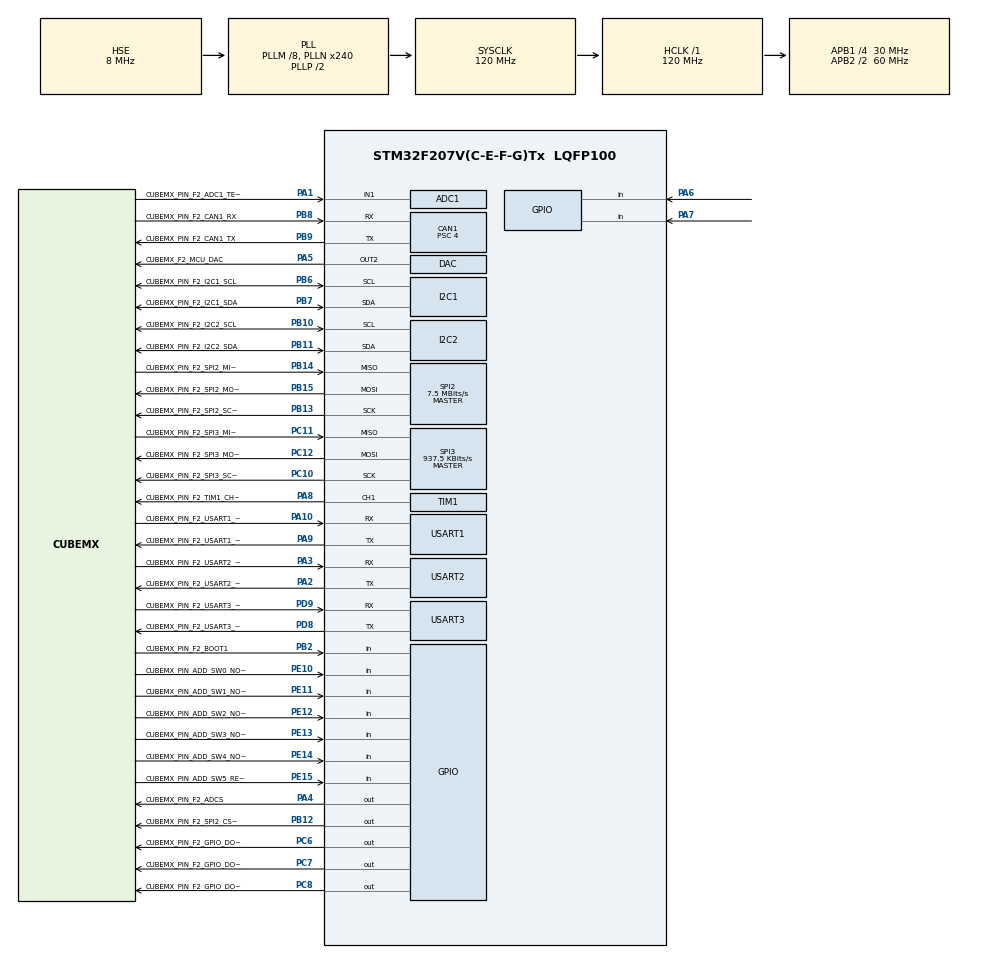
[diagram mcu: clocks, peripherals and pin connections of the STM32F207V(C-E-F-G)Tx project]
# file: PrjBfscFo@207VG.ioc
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ADC1.Channel-20\#ChannelRegularConversion=ADC_CHANNEL_1
ADC1.Channel-21\#ChannelRegularConversion=ADC_CHANNEL_1
ADC1.Channel-IN1=ADC_CHANNEL_1
ADC1.EOCSelection=ADC_EOC_SEQ_CONV
ADC1.NbrOfConversion=2
ADC1.Rank-21\#ChannelRegularConversion=2
ADC1.master=1
CAN1.ABOM=ENABLE
CAN1.BS1=CAN_BS1_12TQ
CAN1.BS2=CAN_BS2_2TQ
CAN1.CalculateTimeBit=2000
CAN1.CalculateTimeQuantum=133.33333333333334
CAN1.Prescaler=4
Dma.Request0=SPI2_RX
Dma.Request1=SPI2_TX
Dma.SPI2_RX.0.Direction=DMA_PERIPH_TO_MEMORY
Dma.SPI2_RX.0.FIFOMode=DMA_FIFOMODE_DISABLE
Dma.SPI2_RX.0.Instance=DMA1_Stream3
Dma.SPI2_RX.0.MemDataAlignment=DMA_MDATAALIGN_BYTE
Dma.SPI2_RX.0.MemInc=DMA_MINC_ENABLE
Dma.SPI2_RX.0.Mode=DMA_NORMAL
Dma.SPI2_RX.0.PeriphDataAlignment=DMA_PDATAALIGN_BYTE
Dma.SPI2_RX.0.PeriphInc=DMA_PINC_DISABLE
Dma.SPI2_RX.0.Priority=DMA_PRIORITY_MEDIUM
Dma.SPI2_TX.1.Direction=DMA_MEMORY_TO_PERIPH
Dma.SPI2_TX.1.FIFOMode=DMA_FIFOMODE_DISABLE
Dma.SPI2_TX.1.Instance=DMA1_Stream4
Dma.SPI2_TX.1.MemDataAlignment=DMA_MDATAALIGN_BYTE
Dma.SPI2_TX.1.MemInc=DMA_MINC_ENABLE
Dma.SPI2_TX.1.Mode=DMA_NORMAL
Dma.SPI2_TX.1.PeriphDataAlignment=DMA_PDATAALIGN_BYTE
Dma.SPI2_TX.1.PeriphInc=DMA_PINC_DISABLE
Dma.SPI2_TX.1.Priority=DMA_PRIORITY_MEDIUM
FREERTOS.INCLUDE_eTaskGetState=1
FREERTOS.INCLUDE_pcTaskGetTaskName=1
FREERTOS.INCLUDE_vTaskCleanUpResources=1
FREERTOS.Queues01=myQueue01,16,uint16_t,NULL,Dynamic,NULL,NULL
FREERTOS.Tasks01=defaultTask,0,512,StartDefaultTask,Default,NULL,Dynamic,NULL,NULL;myTask02,0,512,blk230_task,Default,NULL,Dynamic,NULL,NULL
FREERTOS.Timers01=myTimer01,Callback01,osTimerPeriodic,Default
FREERTOS.configCHECK_FOR_STACK_OVERFLOW=2
FREERTOS.configGENERATE_RUN_TIME_STATS=1
FREERTOS.configMAX_PRIORITIES=31
FREERTOS.configMAX_TASK_NAME_LEN=24
FREERTOS.configQUEUE_REGISTRY_SIZE=2
FREERTOS.configTOTAL_HEAP_SIZE=0x8C00
FREERTOS.configUSE_COUNTING_SEMAPHORES=1
FREERTOS.configUSE_IDLE_HOOK=1
FREERTOS.configUSE_MALLOC_FAILED_HOOK=1
FREERTOS.configUSE_PORT_OPTIMISED_TASK_SELECTION=1
FREERTOS.configUSE_RECURSIVE_MUTEXES=1
FREERTOS.configUSE_TICKLESS_IDLE=1
FREERTOS.configUSE_TICK_HOOK=1
FREERTOS.configUSE_TIMERS=1
Mcu.Family=STM32F2
Mcu.Name=STM32F207V(C-E-F-G)Tx
Mcu.Package=LQFP100
NVIC.CAN1_RX0_IRQn=true\:5\:0\:false\:false\:true\:true
NVIC.CAN1_RX1_IRQn=true\:5\:0\:false\:false\:true\:true
NVIC.DMA1_Stream3_IRQn=true\:5\:0\:false\:false\:true\:true
NVIC.DMA1_Stream4_IRQn=true\:5\:0\:false\:false\:true\:true
NVIC.PriorityGroup=NVIC_PRIORITYGROUP_4
NVIC.SPI2_IRQn=true\:5\:0\:false\:true\:true\:3\:true
NVIC.TIM2_IRQn=true\:0\:0\:false\:false\:true\:false
NVIC.TimeBase=TIM2_IRQn
NVIC.TimeBaseIP=TIM2
NVIC.USART1_IRQn=true\:5\:0\:true\:false\:true\:true
NVIC.USART2_IRQn=true\:5\:0\:false\:true\:true\:4\:true
NVIC.USART3_IRQn=true\:5\:0\:false\:true\:true\:5\:true
PA0-WKUP.GPIO_Label=CUBEMX_PIN_F2_STS_WKUP
PA0-WKUP.Mode=SYS_WakeUp0
PA0-WKUP.Signal=SYS_WKUP
PA1.GPIO_Label=CUBEMX_PIN_F2_ADC1_TEST1
PA1.Signal=ADCx_IN1
PA10.GPIO_Label=CUBEMX_PIN_F2_USART1_RX_DEBUG
PA10.Mode=Asynchronous
PA10.Signal=USART1_RX
PA13.GPIO_Label=CUBEMX_PIN_F2_SYS_JTMS_SWDIO
PA13.Mode=JTAG_5_pins
PA13.Signal=SYS_JTMS-SWDIO
PA14.GPIO_Label=CUBEMX_PIN_F2_SYS_JTCK_SWCLK
PA14.Mode=JTAG_5_pins
PA14.Signal=SYS_JTCK-SWCLK
PA15.GPIO_Label=CUBEMX_PIN_F2_SYS_JTDI
PA15.Mode=JTAG_5_pins
PA15.Signal=SYS_JTDI
PA2.GPIO_Label=CUBEMX_PIN_F2_USART2_TX_485
PA2.Mode=Asynchronous
PA2.Signal=USART2_TX
PA3.GPIO_Label=CUBEMX_PIN_F2_USART2_RX_485
PA3.Mode=Asynchronous
PA3.Signal=USART2_RX
PA4.GPIO_Label=CUBEMX_PIN_F2_ADCS
PA4.GPIO_PuPd=GPIO_PULLUP
PA4.GPIO_Speed=GPIO_SPEED_FREQ_HIGH
PA4.Signal=GPIO_Output
PA5.GPIO_Label=CUBEMX_F2_MCU_DAC
PA5.Signal=COMP_DAC2_group
PA6.Signal=GPIO_Input
PA7.Signal=GPIO_Input
PA8.GPIO_Label=CUBEMX_PIN_F2_TIM1_CH1_PMW_ADCLK
PA8.GPIO_PuPd=GPIO_PULLUP
PA8.GPIO_Speed=GPIO_SPEED_FREQ_VERY_HIGH
PA8.Signal=S_TIM1_CH1
PA9.GPIO_Label=CUBEMX_PIN_F2_USART1_TX_DEBUG
PA9.Mode=Asynchronous
PA9.Signal=USART1_TX
PB10.GPIO_Label=CUBEMX_PIN_F2_I2C2_SCL
PB10.Mode=I2C
PB10.Signal=I2C2_SCL
PB11.GPIO_Label=CUBEMX_PIN_F2_I2C2_SDA
PB11.Mode=I2C
PB11.Signal=I2C2_SDA
PB12.GPIO_Label=CUBEMX_PIN_F2_SPI2_CS_ADC
PB12.GPIO_Speed=GPIO_SPEED_FREQ_MEDIUM
PB12.PinState=GPIO_PIN_SET
PB12.Signal=GPIO_Output
PB13.GPIO_Label=CUBEMX_PIN_F2_SPI2_SCK_ADC
PB13.Mode=Full_Duplex_Master
PB13.Signal=SPI2_SCK
PB14.GPIO_Label=CUBEMX_PIN_F2_SPI2_MISO_ADC
PB14.Mode=Full_Duplex_Master
PB14.Signal=SPI2_MISO
PB15.GPIO_Label=CUBEMX_PIN_F2_SPI2_MOSI_ADC
PB15.Mode=Full_Duplex_Master
PB15.Signal=SPI2_MOSI
PB2.GPIO_Label=CUBEMX_PIN_F2_BOOT1
PB2.Signal=GPIO_Input
PB3.GPIO_Label=CUBEMX_PIN_F2_SYS_JTDO_SWO
PB3.Mode=JTAG_5_pins
PB3.Signal=SYS_JTDO-SWO
PB4.GPIO_Label=CUBEMX_PIN_F2_SYS_JTRST
PB4.Mode=JTAG_5_pins
PB4.Signal=SYS_JTRST
PB6.GPIO_Label=CUBEMX_PIN_F2_I2C1_SCL
PB6.Mode=I2C
PB6.Signal=I2C1_SCL
PB7.GPIO_Label=CUBEMX_PIN_F2_I2C1_SDA
PB7.Mode=I2C
PB7.Signal=I2C1_SDA
PB8.GPIO_Label=CUBEMX_PIN_F2_CAN1_RX
PB8.Mode=Master
PB8.Signal=CAN1_RX
PB9.GPIO_Label=CUBEMX_PIN_F2_CAN1_TX
PB9.Mode=Master
PB9.Signal=CAN1_TX
PC10.GPIO_Label=CUBEMX_PIN_F2_SPI3_SCK_ADC
PC10.GPIO_Mode=GPIO_MODE_AF_PP
PC10.GPIO_PuPd=GPIO_PULLUP
PC10.GPIO_Speed=GPIO_SPEED_FREQ_HIGH
PC10.Mode=Full_Duplex_Master
PC10.Signal=SPI3_SCK
PC11.GPIO_Label=CUBEMX_PIN_F2_SPI3_MISO_ADC
PC11.GPIO_PuPd=GPIO_PULLUP
PC11.GPIO_Speed=GPIO_SPEED_FREQ_HIGH
PC11.Mode=Full_Duplex_Master
PC11.Signal=SPI3_MISO
PC12.GPIO_Label=CUBEMX_PIN_F2_SPI3_MOSI_ADC
PC12.GPIO_PuPd=GPIO_PULLUP
PC12.GPIO_Speed=GPIO_SPEED_FREQ_HIGH
PC12.Mode=Full_Duplex_Master
PC12.Signal=SPI3_MOSI
PC14-OSC32_IN.GPIO_Label=CUBEMX_PIN_F2_RCC_OSC32_IN
PC14-OSC32_IN.Mode=LSE-External-Oscillator
PC14-OSC32_IN.Signal=RCC_OSC32_IN
PC15-OSC32_OUT.GPIO_Label=CUBEMX_PIN_F2_RCC_OSC32_OUT
PC15-OSC32_OUT.Mode=LSE-External-Oscillator
PC15-OSC32_OUT.Signal=RCC_OSC32_OUT
PC6.GPIO_Label=CUBEMX_PIN_F2_GPIO_DO_LED_SERV1
PC6.Signal=GPIO_Output
PC7.GPIO_Label=CUBEMX_PIN_F2_GPIO_DO_LED_WORK_STATE
PC7.Signal=GPIO_Output
PC8.GPIO_Label=CUBEMX_PIN_F2_GPIO_DO_LED_COMMU
PC8.Signal=GPIO_Output
PD8.GPIO_Label=CUBEMX_PIN_F2_USART3_TX_PRINT
PD8.Mode=Asynchronous
PD8.Signal=USART3_TX
PD9.GPIO_Label=CUBEMX_PIN_F2_USART3_RX_PRINT
PD9.Mode=Asynchronous
PD9.Signal=USART3_RX
PE10.GPIO_Label=CUBEMX_PIN_ADD_SW0_NODEID_BIT0
PE10.Signal=GPIO_Input
PE11.GPIO_Label=CUBEMX_PIN_ADD_SW1_NODEID_BIT1
PE11.Signal=GPIO_Input
PE12.GPIO_Label=CUBEMX_PIN_ADD_SW2_NODEID_BIT2
PE12.Signal=GPIO_Input
PE13.GPIO_Label=CUBEMX_PIN_ADD_SW3_NODEID_BIT3
PE13.Signal=GPIO_Input
PE14.GPIO_Label=CUBEMX_PIN_ADD_SW4_NODEID_BIT4
PE14.Signal=GPIO_Input
PE15.GPIO_Label=CUBEMX_PIN_ADD_SW5_RESERVED
PE15.Signal=GPIO_Input
PH0-OSC_IN.GPIO_Label=CUBEMX_PIN_F2_RCC_OSC_IN
PH0-OSC_IN.Mode=HSE-External-Oscillator
PH0-OSC_IN.Signal=RCC_OSC_IN
PH1-OSC_OUT.GPIO_Label=CUBEMX_PIN_F2_RCC_OSC_OUT
PH1-OSC_OUT.Mode=HSE-External-Oscillator
PH1-OSC_OUT.Signal=RCC_OSC_OUT
ProjectManager.HeapSize=0x200
ProjectManager.StackSize=0x400
ProjectManager.TargetToolchain=MDK-ARM V5
RCC.48MHZClocksFreq_Value=60000000
RCC.AHBFreq_Value=120000000
RCC.APB1CLKDivider=RCC_HCLK_DIV4
RCC.APB1Freq_Value=30000000
RCC.APB1TimFreq_Value=60000000
RCC.APB2CLKDivider=RCC_HCLK_DIV2
RCC.APB2Freq_Value=60000000
RCC.APB2TimFreq_Value=120000000
RCC.CortexFreq_Value=120000000
RCC.FLatency=FLASH_LATENCY_3
RCC.HCLKFreq_Value=120000000
RCC.HSE_VALUE=8000000
RCC.HSI_VALUE=16000000
RCC.PLLM=8
RCC.PLLN=240
RCC.PLLSourceVirtual=RCC_PLLSOURCE_HSE
RCC.SYSCLKFreq_VALUE=120000000
RCC.SYSCLKSource=RCC_SYSCLKSOURCE_PLLCLK
RCC.VCOOutputFreq_Value=240000000
RTC.Alarm_A-Alarm\ A=RTC_ALARM_A
RTC.Alarm_B-Alarm\ B=RTC_ALARM_B
RTC.Date=3
RTC.Year=17
SH.ADCx_IN1.0=ADC1_IN1,IN1
SH.COMP_DAC2_group.0=DAC_OUT2,DAC_OUT2
SH.S_TIM1_CH1.0=TIM1_CH1,PWM Generation1 CH1
SPI2.BaudRatePrescaler=SPI_BAUDRATEPRESCALER_4
SPI2.CalculateBaudRate=7.5 MBits/s
SPI2.Mode=SPI_MODE_MASTER
SPI2.VirtualType=VM_MASTER
SPI3.BaudRatePrescaler=SPI_BAUDRATEPRESCALER_32
SPI3.CalculateBaudRate=937.5 KBits/s
SPI3.Mode=SPI_MODE_MASTER
SPI3.VirtualType=VM_MASTER
TIM1.Channel-PWM\ Generation1\ CH1=TIM_CHANNEL_1
TIM1.Period=23
TIM1.Pulse-PWM\ Generation1\ CH1=12
USART1.VirtualMode=VM_ASYNC
USART2.VirtualMode=VM_ASYNC
USART3.VirtualMode=VM_ASYNC
VP_ADC1_TempSens_Input.Mode=IN-TempSens
VP_CRC_VS_CRC.Mode=CRC_Activate
VP_FREERTOS_VS_ENABLE.Mode=Enabled
VP_RTC_VS_RTC_Activate.Mode=RTC_Enabled
VP_RTC_VS_RTC_Alarm_A_Intern.Mode=Alarm A
VP_RTC_VS_RTC_Alarm_B_Intern.Mode=Alarm B
VP_RTC_VS_RTC_Calendar.Mode=RTC_Calendar
VP_RTC_VS_RTC_WakeUp_intern.Mode=WakeUp
VP_SYS_VS_tim2.Mode=TIM2
VP_TIM6_VS_ClockSourceINT.Mode=Enable_Timer
VP_TIM7_VS_ClockSourceINT.Mode=Enable_Timer
board=PrjBfscFo@207VG

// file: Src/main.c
/**
  ******************************************************************************
  * File Name          : main.c
  * Description        : Main program body
  ******************************************************************************
  *
  * Copyright (c) 2017 STMicroelectronics International N.V.
  * All rights reserved.
  *
  * Redistribution and use in source and binary forms, with or without
  * modification, are permitted, provided that the following conditions are met:
  *
  * 1. Redistribution of source code must retain the above copyright notice,
  *    this list of conditions and the following disclaimer.
  * 2. Redistributions in binary form must reproduce the above copyright notice,
  *    this list of conditions and the following disclaimer in the documentation
  *    and/or other materials provided with the distribution.
  * 3. Neither the name of STMicroelectronics nor the names of other
  *    contributors to this software may be used to endorse or promote products
  *    derived from this software without specific written permission.
  * 4. This software, including modifications and/or derivative works of this
  *    software, must execute solely and exclusively on microcontroller or
  *    microprocessor devices manufactured by or for STMicroelectronics.
  * 5. Redistribution and use of this software other than as permitted under
  *    this license is void and will automatically terminate your rights under
  *    this license.
  *
  * THIS SOFTWARE IS PROVIDED BY STMICROELECTRONICS AND CONTRIBUTORS "AS IS"
  * AND ANY EXPRESS, IMPLIED OR STATUTORY WARRANTIES, INCLUDING, BUT NOT
  * LIMITED TO, THE IMPLIED WARRANTIES OF MERCHANTABILITY, FITNESS FOR A
  * PARTICULAR PURPOSE AND NON-INFRINGEMENT OF THIRD PARTY INTELLECTUAL PROPERTY
  * RIGHTS ARE DISCLAIMED TO THE FULLEST EXTENT PERMITTED BY LAW. IN NO EVENT
  * SHALL STMICROELECTRONICS OR CONTRIBUTORS BE LIABLE FOR ANY DIRECT, INDIRECT,
  * INCIDENTAL, SPECIAL, EXEMPLARY, OR CONSEQUENTIAL DAMAGES (INCLUDING, BUT NOT
  * LIMITED TO, PROCUREMENT OF SUBSTITUTE GOODS OR SERVICES; LOSS OF USE, DATA,
  * OR PROFITS; OR BUSINESS INTERRUPTION) HOWEVER CAUSED AND ON ANY THEORY OF
  * LIABILITY, WHETHER IN CONTRACT, STRICT LIABILITY, OR TORT (INCLUDING
  * NEGLIGENCE OR OTHERWISE) ARISING IN ANY WAY OUT OF THE USE OF THIS SOFTWARE,
  * EVEN IF ADVISED OF THE POSSIBILITY OF SUCH DAMAGE.
  *
  ******************************************************************************
  */
#include "main.h"
#include "stm32f2xx_hal.h"
#include "cmsis_os.h"
#include "adc.h"
#include "can.h"
#include "crc.h"
#include "dac.h"
#include "dma.h"
#include "i2c.h"
#include "rtc.h"
#include "spi.h"
#include "tim.h"
#include "usart.h"
#include "gpio.h"

/* USER CODE BEGIN Includes */
#include "l3bfsc.h"
#include "l3bfsc_msg.h"
#include "main.h"

/* USER CODE END Includes */

/* USER CODE BEGIN PV */
/* Private variables ---------------------------------------------------------*/
uint8_t zIhuUartRxBuffer[6];
uint8_t zIhuSpiRxBuffer[2];
uint8_t zIhuI2cRxBuffer[2];
extern WeightSensorParamaters_t					zWeightSensorParam;
extern WmcInventory_t										zWmcInvenory;
/* USER CODE END PV */

void SystemClock_Config(void);
void Error_Handler(void);
void MX_FREERTOS_Init(void);
static void MX_NVIC_Init(void);

/* USER CODE BEGIN PFP */
/* Private function prototypes -----------------------------------------------*/
#ifdef __GNUC__
  /* With GCC/RAISONANCE, small printf (option LD Linker->Libraries->Small printf
     set to 'Yes') calls __io_putchar() */
  #define PUTCHAR_PROTOTYPE int __io_putchar(int ch)
#else
  #define PUTCHAR_PROTOTYPE int fputc(int ch, FILE *f)
#endif /* __GNUC__ */
/* USER CODE END PFP */

int main(void)
{

  /* MCU Configuration----------------------------------------------------------*/

  /* Reset of all peripherals, Initializes the Flash interface and the Systick. */
  HAL_Init();

  /* Configure the system clock */
  SystemClock_Config();

  /* Initialize all configured peripherals */
  MX_GPIO_Init();
  MX_DMA_Init();
  MX_ADC1_Init();
  MX_CAN1_Init();
  MX_CRC_Init();
  MX_I2C1_Init();
  MX_I2C2_Init();
  MX_RTC_Init();
  MX_SPI2_Init();
  MX_SPI3_Init();
  MX_USART1_UART_Init();
  MX_USART2_UART_Init();
  MX_USART3_UART_Init();
  MX_TIM7_Init();
  MX_TIM6_Init();
  MX_TIM1_Init();
  MX_DAC_Init();

  /* Initialize interrupts */
  MX_NVIC_Init();

  /* USER CODE BEGIN 2 */
	/* 使能接收，进入中断回调函数 */
  HAL_UART_Receive_IT(&huart1,&zIhuUartRxBuffer[0],1);
  HAL_UART_Receive_IT(&huart2,&zIhuUartRxBuffer[1],1);
  HAL_UART_Receive_IT(&huart3,&zIhuUartRxBuffer[2],1);
//  HAL_UART_Receive_IT(&huart4,&zIhuUartRxBuffer[3],1);
//  HAL_UART_Receive_IT(&huart5,&zIhuUartRxBuffer[4],1);
  //HAL_UART_Receive_IT(&huart6,&zIhuUartRxBuffer[5],1);
  //HAL_SPI_Receive_IT(&hspi1,&zIhuSpiRxBuffer[0],1);
  //HAL_SPI_Receive_IT(&hspi2,&zIhuSpiRxBuffer[1],1);
  HAL_I2C_Slave_Receive_IT(&hi2c1,&zIhuI2cRxBuffer[0],1);
  //HAL_CAN_Receive_IT(&hcan2, 1);

	/*
	** THIS IS USED TO INIT CAN INTERFACE:
	** MAKE SURE bsp_can_config_filter() called after bsp_can_init() & func_bfsc_hw_init();
	*/
	bsp_can_init(&hcan1, 0x10);
	//func_bfsc_hw_init(&zWmcInvenory);
	//bsp_can_config_filter(&hcan1, WMC_CAN_ID);
	HAL_CAN_Receive_IT(&hcan1, 0);

	//Set_CS5532();
	HAL_GPIO_WritePin(CUBEMX_PIN_F2_ADCS_GPIO_Port, CUBEMX_PIN_F2_ADCS_Pin, GPIO_PIN_SET);
	//CS5532Init();
	//WeightSensorInit(&zWeightSensorParam);  -> MOVED TO BFSC
	printf("Init Success (SystemCoreClock = %d), 0x%08X...\r\n", SystemCoreClock, (uint8_t *)&zWeightSensorParam);
	ihu_bsp_stm32_led_commu_f2board_on();
	ihu_bsp_stm32_led_serv1_f2board_on();
	ihu_bsp_stm32_led_work_state_f2board_on();

	/*
	** !!!! MAKE SURE PWM STARTED BY BELOW API, IT IS NOT AUTO START !!!!!!!!
	*/
	if(HAL_TIM_PWM_Start(&htim1, TIM_CHANNEL_1) != HAL_OK)
  {
    /* PWM Generation Error */
    Error_Handler();
	}

	//blk230_set_lamp(WMC_LAMP_OUT1, WMC_LAMP_ON);

	/* CREATE IHU VM */
	ihu_vm_main();
	printf("ihu_vm_main() launched...\r\n");

  /* USER CODE END 2 */

  /* Call init function for freertos objects (in freertos.c) */
  MX_FREERTOS_Init();
	printf("MX_FREERTOS_Init() launched...\r\n");

  /* Start scheduler */
  osKernelStart();
	printf("osKernelStart...\r\n");

  /* We should never get here as control is now taken by the scheduler */

  /* Infinite loop */
  while (1)
  {

  }

}

/** System Clock Configuration
*/
void SystemClock_Config(void)
{

  RCC_OscInitTypeDef RCC_OscInitStruct;
  RCC_ClkInitTypeDef RCC_ClkInitStruct;
  RCC_PeriphCLKInitTypeDef PeriphClkInitStruct;

    /**Initializes the CPU, AHB and APB busses clocks
    */
  RCC_OscInitStruct.OscillatorType = RCC_OSCILLATORTYPE_LSI|RCC_OSCILLATORTYPE_HSE;
  RCC_OscInitStruct.HSEState = RCC_HSE_ON;
  RCC_OscInitStruct.LSIState = RCC_LSI_ON;
  RCC_OscInitStruct.PLL.PLLState = RCC_PLL_ON;
  RCC_OscInitStruct.PLL.PLLSource = RCC_PLLSOURCE_HSE;
  RCC_OscInitStruct.PLL.PLLM = 8;
  RCC_OscInitStruct.PLL.PLLN = 240;
  RCC_OscInitStruct.PLL.PLLP = RCC_PLLP_DIV2;
  RCC_OscInitStruct.PLL.PLLQ = 4;
  if (HAL_RCC_OscConfig(&RCC_OscInitStruct) != HAL_OK)
  {
    Error_Handler();
  }

    /**Initializes the CPU, AHB and APB busses clocks
    */
  RCC_ClkInitStruct.ClockType = RCC_CLOCKTYPE_HCLK|RCC_CLOCKTYPE_SYSCLK
                              |RCC_CLOCKTYPE_PCLK1|RCC_CLOCKTYPE_PCLK2;
  RCC_ClkInitStruct.SYSCLKSource = RCC_SYSCLKSOURCE_PLLCLK;
  RCC_ClkInitStruct.AHBCLKDivider = RCC_SYSCLK_DIV1;
  RCC_ClkInitStruct.APB1CLKDivider = RCC_HCLK_DIV4;
  RCC_ClkInitStruct.APB2CLKDivider = RCC_HCLK_DIV2;

  if (HAL_RCC_ClockConfig(&RCC_ClkInitStruct, FLASH_LATENCY_3) != HAL_OK)
  {
    Error_Handler();
  }

  PeriphClkInitStruct.PeriphClockSelection = RCC_PERIPHCLK_RTC;
  PeriphClkInitStruct.RTCClockSelection = RCC_RTCCLKSOURCE_LSI;
  if (HAL_RCCEx_PeriphCLKConfig(&PeriphClkInitStruct) != HAL_OK)
  {
    Error_Handler();
  }

    /**Configure the Systick interrupt time
    */
  HAL_SYSTICK_Config(HAL_RCC_GetHCLKFreq()/1000);

    /**Configure the Systick
    */
  HAL_SYSTICK_CLKSourceConfig(SYSTICK_CLKSOURCE_HCLK);

  /* SysTick_IRQn interrupt configuration */
  HAL_NVIC_SetPriority(SysTick_IRQn, 15, 0);
}

/** NVIC Configuration
*/
static void MX_NVIC_Init(void)
{
  /* SPI2_IRQn interrupt configuration */
  HAL_NVIC_SetPriority(SPI2_IRQn, 5, 0);
  HAL_NVIC_EnableIRQ(SPI2_IRQn);
  /* USART2_IRQn interrupt configuration */
  HAL_NVIC_SetPriority(USART2_IRQn, 5, 0);
  HAL_NVIC_EnableIRQ(USART2_IRQn);
  /* USART3_IRQn interrupt configuration */
  HAL_NVIC_SetPriority(USART3_IRQn, 5, 0);
  HAL_NVIC_EnableIRQ(USART3_IRQn);
}

/* USER CODE BEGIN 4 */
PUTCHAR_PROTOTYPE
{
  /* Place your implementation of fputc here */
  /* e.g. write a character to the EVAL_COM1 and Loop until the end of transmission */
  HAL_UART_Transmit(&huart3, (uint8_t *)&ch, 1, 0xFFFF);

  return ch;
}

void I2C_BSP_STM32_MPU6050_Error (void)
{
  HAL_I2C_DeInit(&hi2c1);
  MX_I2C1_Init();
}

void I2C_BSP_STM32_PCF8563_Error (void)
{
  HAL_I2C_DeInit(&hi2c1);
  MX_I2C1_Init();
}

/* USER CODE END 4 */

void HAL_TIM_PeriodElapsedCallback(TIM_HandleTypeDef *htim)
{
  if (htim->Instance == TIM2) {
    HAL_IncTick();
  }
}

void Error_Handler(void)
{
  /* USER CODE BEGIN Error_Handler */
  /* User can add his own implementation to report the HAL error return state */
	//	IhuErrorPrint("VMFO: Fatal error occured, but still move forward as test purposed!");
  while(1)
  {
  }
  /* USER CODE END Error_Handler */
}

/************************ (C) COPYRIGHT STMicroelectronics *****END OF FILE****/

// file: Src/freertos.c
/**
  ******************************************************************************
  * File Name          : freertos.c
  * Description        : Code for freertos applications
  ******************************************************************************
  *
  * Copyright (c) 2017 STMicroelectronics International N.V.
  * All rights reserved.
  *
  * Redistribution and use in source and binary forms, with or without
  * modification, are permitted, provided that the following conditions are met:
  *
  * 1. Redistribution of source code must retain the above copyright notice,
  *    this list of conditions and the following disclaimer.
  * 2. Redistributions in binary form must reproduce the above copyright notice,
  *    this list of conditions and the following disclaimer in the documentation
  *    and/or other materials provided with the distribution.
  * 3. Neither the name of STMicroelectronics nor the names of other
  *    contributors to this software may be used to endorse or promote products
  *    derived from this software without specific written permission.
  * 4. This software, including modifications and/or derivative works of this
  *    software, must execute solely and exclusively on microcontroller or
  *    microprocessor devices manufactured by or for STMicroelectronics.
  * 5. Redistribution and use of this software other than as permitted under
  *    this license is void and will automatically terminate your rights under
  *    this license.
  *
  * THIS SOFTWARE IS PROVIDED BY STMICROELECTRONICS AND CONTRIBUTORS "AS IS"
  * AND ANY EXPRESS, IMPLIED OR STATUTORY WARRANTIES, INCLUDING, BUT NOT
  * LIMITED TO, THE IMPLIED WARRANTIES OF MERCHANTABILITY, FITNESS FOR A
  * PARTICULAR PURPOSE AND NON-INFRINGEMENT OF THIRD PARTY INTELLECTUAL PROPERTY
  * RIGHTS ARE DISCLAIMED TO THE FULLEST EXTENT PERMITTED BY LAW. IN NO EVENT
  * SHALL STMICROELECTRONICS OR CONTRIBUTORS BE LIABLE FOR ANY DIRECT, INDIRECT,
  * INCIDENTAL, SPECIAL, EXEMPLARY, OR CONSEQUENTIAL DAMAGES (INCLUDING, BUT NOT
  * LIMITED TO, PROCUREMENT OF SUBSTITUTE GOODS OR SERVICES; LOSS OF USE, DATA,
  * OR PROFITS; OR BUSINESS INTERRUPTION) HOWEVER CAUSED AND ON ANY THEORY OF
  * LIABILITY, WHETHER IN CONTRACT, STRICT LIABILITY, OR TORT (INCLUDING
  * NEGLIGENCE OR OTHERWISE) ARISING IN ANY WAY OUT OF THE USE OF THIS SOFTWARE,
  * EVEN IF ADVISED OF THE POSSIBILITY OF SUCH DAMAGE.
  *
  ******************************************************************************
  */

#include "FreeRTOS.h"
#include "task.h"
#include "cmsis_os.h"

/* USER CODE BEGIN Includes */
#include "vmfreeoslayer.h"
#include "l2adc_cs5532.h"

/* USER CODE END Includes */

osThreadId defaultTaskHandle;
osThreadId myTask01Handle;
osThreadId myTask02Handle;
osMessageQId myQueue01Handle;
osTimerId myTimer01Handle;

/* USER CODE BEGIN Variables */
extern WeightSensorParamaters_t					zWeightSensorParam;
/* USER CODE END Variables */

void StartDefaultTask(void const * argument);
void blk230_task(void const * argument);
void Callback01(void const * argument);
void weight_sensor_task(void const *param);
void MX_FREERTOS_Init(void); /* (MISRA C 2004 rule 8.1) */

/* Pre/Post sleep processing prototypes */
void PreSleepProcessing(uint32_t *ulExpectedIdleTime);
void PostSleepProcessing(uint32_t *ulExpectedIdleTime);

/* Hook prototypes */
void configureTimerForRunTimeStats(void);
unsigned long getRunTimeCounterValue(void);
void vApplicationIdleHook(void);
void vApplicationTickHook(void);
void vApplicationStackOverflowHook(xTaskHandle xTask, signed char *pcTaskName);
void vApplicationMallocFailedHook(void);

/* USER CODE BEGIN 1 */
/* Functions needed when configGENERATE_RUN_TIME_STATS is on */
void configureTimerForRunTimeStats(void)
{

}

unsigned long getRunTimeCounterValue(void)
{
return 0;
}
/* USER CODE END 1 */

/* USER CODE BEGIN 2 */
void vApplicationIdleHook( void )
{
   /* vApplicationIdleHook() will only be called if configUSE_IDLE_HOOK is set
   to 1 in FreeRTOSConfig.h. It will be called on each iteration of the idle
   task. It is essential that code added to this hook function never attempts
   to block in any way (for example, call xQueueReceive() with a block time
   specified, or call vTaskDelay()). If the application makes use of the
   vTaskDelete() API function (as this demo application does) then it is also
   important that vApplicationIdleHook() is permitted to return to its calling
   function, because it is the responsibility of the idle task to clean up
   memory allocated by the kernel to any task that has since been deleted. */
}
/* USER CODE END 2 */

/* USER CODE BEGIN 3 */
void vApplicationTickHook( void )
{
   /* This function will be called by each tick interrupt if
   configUSE_TICK_HOOK is set to 1 in FreeRTOSConfig.h. User code can be
   added here, but the tick hook is called from an interrupt context, so
   code must not attempt to block, and only the interrupt safe FreeRTOS API
   functions can be used (those that end in FromISR()). */
}
/* USER CODE END 3 */

/* USER CODE BEGIN 4 */
void vApplicationStackOverflowHook(xTaskHandle xTask, signed char *pcTaskName)
{
   /* Run time stack overflow checking is performed if
   configCHECK_FOR_STACK_OVERFLOW is defined to 1 or 2. This hook function is
   called if a stack overflow is detected. */
}
/* USER CODE END 4 */

/* USER CODE BEGIN 5 */
void vApplicationMallocFailedHook(void)
{
   /* vApplicationMallocFailedHook() will only be called if
   configUSE_MALLOC_FAILED_HOOK is set to 1 in FreeRTOSConfig.h. It is a hook
   function that will get called if a call to pvPortMalloc() fails.
   pvPortMalloc() is called internally by the kernel whenever a task, queue,
   timer or semaphore is created. It is also called by various parts of the
   demo application. If heap_1.c or heap_2.c are used, then the size of the
   heap available to pvPortMalloc() is defined by configTOTAL_HEAP_SIZE in
   FreeRTOSConfig.h, and the xPortGetFreeHeapSize() API function can be used
   to query the size of free heap space that remains (although it does not
   provide information on how the remaining heap might be fragmented). */
}
/* USER CODE END 5 */

/* USER CODE BEGIN PREPOSTSLEEP */
void PreSleepProcessing(uint32_t *ulExpectedIdleTime)
{
/* place for user code */
}

void PostSleepProcessing(uint32_t *ulExpectedIdleTime)
{
/* place for user code */
}
/* USER CODE END PREPOSTSLEEP */

/* Init FreeRTOS */

void MX_FREERTOS_Init(void) {

  /* Create the timer(s) */
  /* definition and creation of myTimer01 */
  osTimerDef(myTimer01, Callback01);
  myTimer01Handle = osTimerCreate(osTimer(myTimer01), osTimerPeriodic, NULL);

  /* Create the thread(s) */
  /* definition and creation of defaultTask */
//  osThreadDef(defaultTask, StartDefaultTask, osPriorityNormal, 0, 512);
//  defaultTaskHandle = osThreadCreate(osThread(defaultTask), NULL);

//  osThreadDef(myTask01, weight_sensor_task, osPriorityNormal, 0, 512);
//  myTask01Handle = osThreadCreate(osThread(myTask01), NULL);

  /* definition and creation of myTask02 */
  osThreadDef(myTask02, blk230_task, osPriorityNormal, 0, 512);
  myTask02Handle = osThreadCreate(osThread(myTask02), NULL);

  /* Create the queue(s) */
  /* definition and creation of myQueue01 */
  osMessageQDef(myQueue01, 16, uint16_t);
  myQueue01Handle = osMessageCreate(osMessageQ(myQueue01), NULL);

  /* USER CODE BEGIN RTOS_QUEUES */
  /* add queues, ... */
	//Self defined main task entry
#ifdef IHU_MAIN
	ihu_vm_main();
#endif

  /* USER CODE END RTOS_QUEUES */
}

/* StartDefaultTask function */
void StartDefaultTask(void const * argument)
{

  /* USER CODE BEGIN StartDefaultTask */
	uint32_t temp, temp2;
	int i;

  //初始化Weight Sensor ADC
	WeightSensorInit(&zWeightSensorParam);
	printf("L3BFSC: WeightSensorInit()\r\n");

	for(i = 20; i >= 0; i--)
	{
			printf("Wait for %d sec to call WeightSensorCalibrationZero() ...\r\n", i);
			HAL_Delay(1000);
	}

	temp = WeightSensorCalibrationZero(&zWeightSensorParam);
	printf("WeightSensorCalibrationZero() return %d (0x%x) ...\r\n", temp, temp);

	for(i = 20; i >= 0; i--)
	{
			printf("Wait for %d sec to call WeightSensorCalibrationFull() ...\r\n", i);
			HAL_Delay(1000);
	}

	temp = WeightSensorCalibrationFull(&zWeightSensorParam);
	printf("WeightSensorCalibrationFull() return %d (0x%x) ...\r\n", temp, temp);

	/* Infinite loop */
  for(;;)
  {
    osDelay(1);
		if(ReadWheChanOk())
		{
				//temp = ReadSeriesADValue();
				ihu_bsp_stm32_led_serv1_f2board_toggle();
				temp2 = WeightSensorReadCurrent(&zWeightSensorParam);
			printf("%d:%d(%x),%d\r\n", osKernelSysTick(), zWeightSensorParam.WeightSensorAdcValue, zWeightSensorParam.WeightSensorAdcValue, temp2);
		}
//		uint8_t send_data = 0x0B;
//		HAL_SPI_Transmit(&SpiHandle,&send_data,1,0);
//	  send_data = 0x00;
//		HAL_SPI_Transmit(&SpiHandle,&send_data,1,0);
		HAL_Delay(200);

  }
  /* USER CODE END StartDefaultTask */
}

///* blk230_task function */
//void blk230_task(void const * argument)
//{
//  /* USER CODE BEGIN blk230_task */
//  /* Infinite loop */
//  for(;;)
//  {
//    osDelay(1);
//  }
//  /* USER CODE END blk230_task */
//}

/* Callback01 function */
void Callback01(void const * argument)
{
}

/************************ (C) COPYRIGHT STMicroelectronics *****END OF FILE****/
